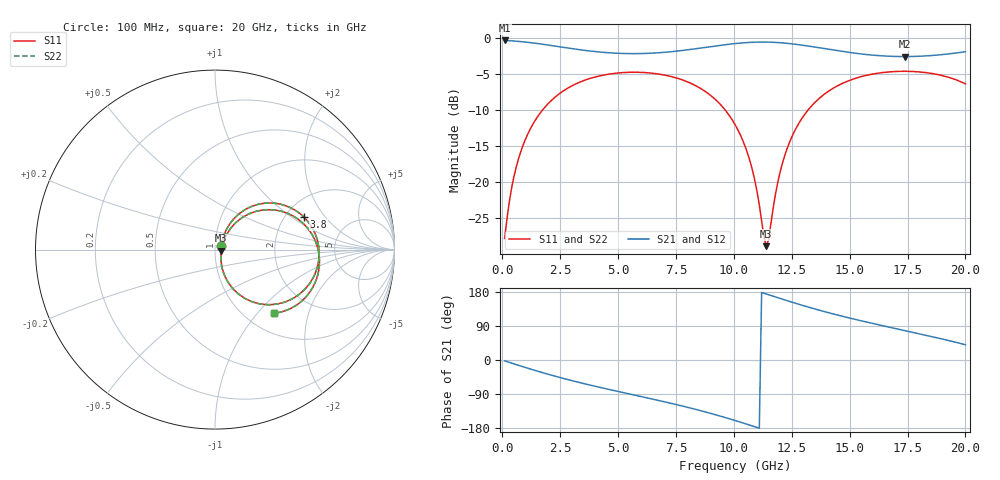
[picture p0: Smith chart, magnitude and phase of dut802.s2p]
! Touchstone file exported from HFSS 2026.1.0
!  File:  C:/ffzhzh/LocalFiles/Ansys_Project_Files/temp_train_TSV_RDL_802_1783263006_38704.aedt
!  Generated:  11:03:49 PM Jul  5, 2026
!  Design:  TSV_RDL
!  Project:  temp_train_TSV_RDL_802_1783263006_38704
! Variables:
!  h_bsmrdl = 3.91um
!  h_ox = 20um
!  h_rdl = 5um
!  h_sub = 75.6um
!  h_tmrdl = 2.45um
!  h_tsv = 75.6um
!  h_via = 3um
!  l_bsmrdl = 850.31um
!  l_sub = 5485.51um
!  l_tmrdl = 603.48um
!  m_sub = 200um
!  pitch = 46.79um
!  r_tsv = 6.5um
!  s_tmrdl = 10um
!  w_bsmrdl = 10.63um
!  w_sub = 500um
!  w_tmrdl = 29.59um
!  x_tsv_center1 = 618.275um
!  x_tsv_center2 = 1479.215um
!  x_tsv_center3 = 2112.285um
!  x_tsv_center4 = 2973.225um
!  x_tsv_center5 = 3606.295um
!  x_tsv_center6 = 4467.235um
# GHz S MA R 50.000000
! Terminal data exported
! Port[1] = TM_RDL1_1_T1
! Port[2] = TM_RDL5_1_T1
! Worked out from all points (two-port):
!   200 points, 100 MHz to 20 GHz, reference 50 ohm
!   highest |S21| = -0.31 dB at 100 MHz (marker M1); lowest = -2.5 dB at 17.4 GHz (marker M2)
!   |S21| within 3 dB of the highest: start of sweep to end of sweep
!   lowest |S11| = -28.8 dB at 11.4 GHz (marker M3), VSWR 1.07, Z = 53.7 - j0.734 ohm
!   |S11| at or under -10 dB: start of sweep to 1.729 GHz; 9.636 GHz to 13.19 GHz (3.559 GHz wide, 31.2 % of centre)
!   |S22| runs from -29.1 to -4.6 dB; largest |S21 - S12| = 1.6e-14
!   S11 on the Smith chart (normalised r, x): 100 MHz: 1.07, +0.04; 3.8 GHz: 2.50, +1.26; 20 GHz: 1.33, -1.23
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0.1  0.04083 29.8  0.9651 -2.1  0.9651 -2.1  0.04083 29.8
! Gamma 0 0 0 0
! Port Impedance 50 0 50 0
0.5  0.1093 59.4  0.9566 -10.1  0.9566 -10.1  0.1093 59.4
1.2  0.2332 56.6  0.933 -23.6  0.933 -23.6  0.2332 56.5
2.2  0.3805 42.8  0.8861 -41.4  0.8861 -41.4  0.3805 42.8
3.5  0.5073 24.3  0.8262 -62.0  0.8262 -62.0  0.5074 24.3
3.8  0.5269 20.2  0.8151 -66.4  0.8151 -66.4  0.5269 20.2
5.3  0.5789 0.7  0.7831 -87.1  0.7831 -87.1  0.5789 0.6
6.8  0.5629 -18.6  0.7938 -107.4  0.7938 -107.4  0.5629 -18.6
8.6  0.4449 -43.4  0.8563 -134.3  0.8563 -134.3  0.445 -43.5
10.1  0.2439 -64.9  0.9201 -160.5  0.9201 -160.5  0.2439 -65.2
10.8  0.1221 -69.3  0.9376 -174.0  0.9376 -174.0  0.1219 -69.8
11.4  0.03612 -10.9  0.9404 174.2  0.9404 174.2  0.03505 -11.2
11.5  0.04006 16.0  0.9397 172.2  0.9397 172.2  0.03903 16.5
11.9  0.1006 51.6  0.9334 164.3  0.9334 164.3  0.1001 52.1
12.2  0.1539 53.4  0.9253 158.5  0.9253 158.5  0.1535 53.7
12.7  0.2396 49.1  0.9067 149.0  0.9067 149.0  0.2393 49.3
13.4  0.3452 39.6  0.8735 136.4  0.8735 136.4  0.345 39.8
14.8  0.4952 19.7  0.8048 113.7  0.8048 113.7  0.495 19.7
16.7  0.584 -5.0  0.7502 86.9  0.7502 86.9  0.5839 -5.0
17.4  0.5898 -13.7  0.7461 77.5  0.7461 77.5  0.5897 -13.7
18.6  0.5678 -28.7  0.7598 61.1  0.7598 61.1  0.5678 -28.7
20  0.4826 -47.2  0.8061 40.3  0.8061 40.3  0.4826 -47.3
